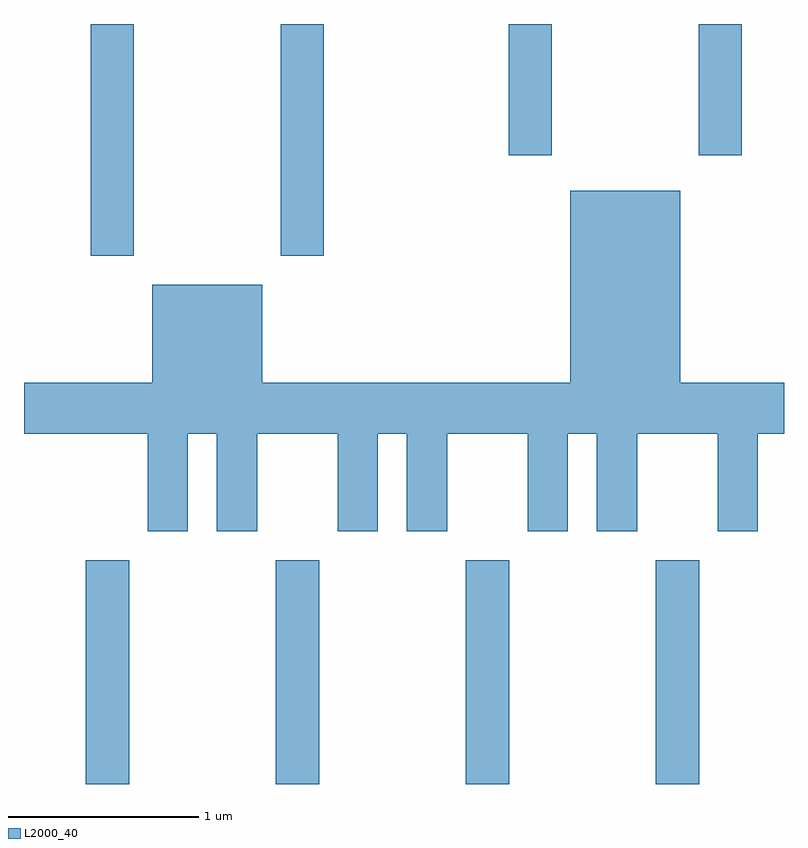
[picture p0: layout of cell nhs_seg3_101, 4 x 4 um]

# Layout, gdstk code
import gdstk
lib = gdstk.Library(unit=1e-6, precision=1e-09)
def R(c, l, rs):  # rectangles x0, y0, x1, y1
    for r in rs: c.add(gdstk.rectangle(r[:2], r[2:], *l))
def A(c, l, x, y, w, h, nx, ny, dx, dy):  # array of equal rectangles
    R(c, l, [(x+i*dx, y+j*dy, x+i*dx+w, y+j*dy+h) for i in range(nx) for j in range(ny)])
def P(c, l, *ps):  # polygons
    for p in ps: c.add(gdstk.Polygon(p, *l))
L2000_40 = (2000, 40)

nhs_seg3_101 = lib.new_cell('nhs_seg3_101')
A(nhs_seg3_101, L2000_40, 187.936, 1181.892, 0.228, 1.177, 4, 1, 1, 0)
R(nhs_seg3_101, L2000_40, [(187.961,1184.671,188.189,1185.892), (188.961,1184.671,189.189,1185.892), (190.161,1185.201,190.389,1185.892), (191.161,1185.201,191.389,1185.892)])
P(nhs_seg3_101, L2000_40, [(188.474,1183.736),(188.626,1183.736),(188.626,1183.221),(188.839,1183.221),(188.839,1183.736),(189.261,1183.736),(189.261,1183.221),(189.474,1183.221),(189.474,1183.736),(189.626,1183.736),(189.626,1183.221),(189.839,1183.221),(189.839,1183.736),(190.261,1183.736),(190.261,1183.221),(190.474,1183.221),(190.474,1183.736),(190.626,1183.736),(190.626,1183.221),(190.839,1183.221),(190.839,1183.736),(191.261,1183.736),(191.261,1183.221),(191.474,1183.221),(191.474,1183.736),(191.611,1183.736),(191.611,1184.004),(191.064,1184.004),(191.064,1185.014),(190.486,1185.014),(190.486,1184.004),(188.864,1184.004),(188.864,1184.519),(188.286,1184.519),(188.286,1184.004),(187.611,1184.004),(187.611,1183.736),(188.261,1183.736),(188.261,1183.221),(188.474,1183.221)])

lib.write_gds('nhs_seg3_101.gds')
